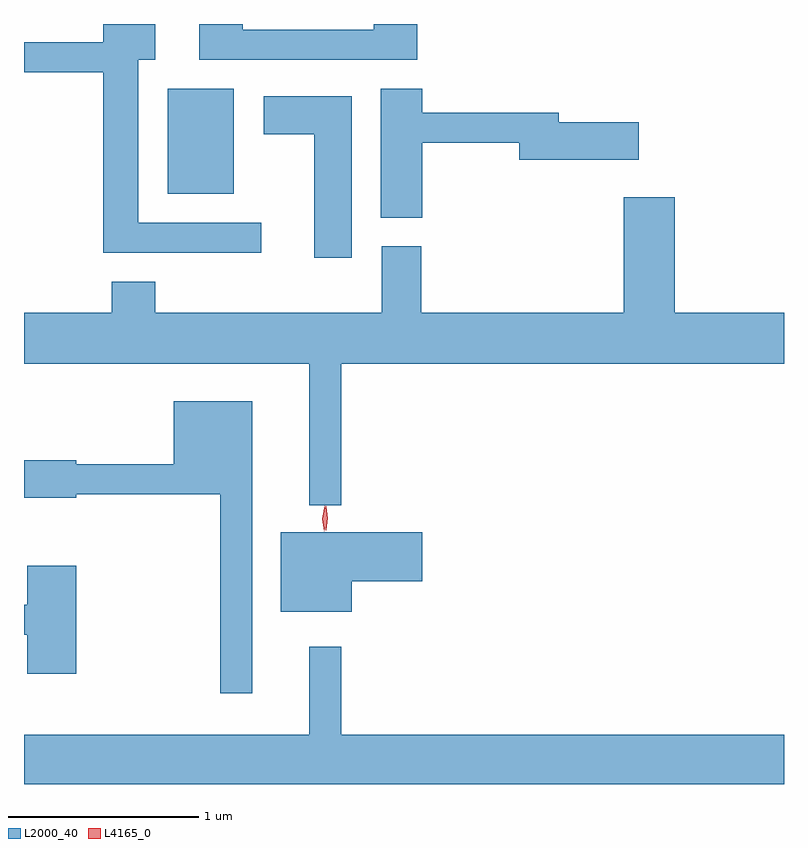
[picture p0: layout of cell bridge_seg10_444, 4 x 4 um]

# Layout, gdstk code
import gdstk
lib = gdstk.Library(unit=1e-6, precision=1e-09)
def R(c, l, rs):  # rectangles x0, y0, x1, y1
    for r in rs: c.add(gdstk.rectangle(r[:2], r[2:], *l))
def P(c, l, *ps):  # polygons
    for p in ps: c.add(gdstk.Polygon(p, *l))
L2000_40 = (2000, 40)
L4165_0 = (4165, 0)

bridge_seg10_444 = lib.new_cell('bridge_seg10_444')
R(bridge_seg10_444, L2000_40, [(1471.416,2119.251,1471.764,2119.804)])
P(bridge_seg10_444, L2000_40, [(1472.729,2120.145),(1472.501,2120.145),(1472.501,2120.114),(1471.809,2120.114),(1471.809,2120.145),(1471.581,2120.145),(1471.581,2119.956),(1472.729,2119.956)],
  [(1471.908,2119.099),(1471.259,2119.099),(1471.259,2119.956),(1471.349,2119.956),(1471.349,2120.145),(1471.076,2120.145),(1471.076,2120.049),(1470.659,2120.049),(1470.659,2119.891),(1471.076,2119.891),(1471.076,2118.941),(1471.908,2118.941)],
  [(1472.754,2119.521),(1473.266,2119.521),(1473.266,2119.431),(1473.894,2119.431),(1473.894,2119.629),(1473.474,2119.629),(1473.474,2119.679),(1472.754,2119.679),(1472.754,2119.804),(1472.536,2119.804),(1472.536,2119.126),(1472.754,2119.126)],
  [(1472.384,2119.764),(1471.921,2119.764),(1471.921,2119.566),(1472.186,2119.566),(1472.186,2118.916),(1472.384,2118.916)],
  [(1472.329,2118.356),(1474.659,2118.356),(1474.659,2118.624),(1474.084,2118.624),(1474.084,2119.234),(1473.816,2119.234),(1473.816,2118.624),(1472.749,2118.624),(1472.749,2118.974),(1472.541,2118.974),(1472.541,2118.624),(1471.349,2118.624),(1471.349,2118.789),(1471.121,2118.789),(1471.121,2118.624),(1470.659,2118.624),(1470.659,2118.356),(1472.161,2118.356),(1472.161,2117.613),(1472.329,2117.613)],
  [(1471.859,2118.159),(1471.446,2118.159),(1471.446,2117.829),(1470.934,2117.829),(1470.934,2117.849),(1470.659,2117.849),(1470.659,2117.651),(1470.934,2117.651),(1470.934,2117.671),(1471.691,2117.671),(1471.691,2116.623),(1471.859,2116.623)],
  [(1472.384,2117.211),(1472.754,2117.211),(1472.754,2117.469),(1472.011,2117.469),(1472.011,2117.051),(1472.384,2117.051)],
  [(1470.934,2117.294),(1470.676,2117.294),(1470.676,2117.089),(1470.659,2117.089),(1470.659,2116.931),(1470.676,2116.931),(1470.676,2116.726),(1470.934,2116.726)],
  [(1474.659,2116.404),(1472.329,2116.404),(1472.329,2116.868),(1472.161,2116.868),(1472.161,2116.404),(1470.659,2116.404),(1470.659,2116.145),(1474.659,2116.145)])
P(bridge_seg10_444, L4165_0, [(1472.248,2117.48),(1472.248,2117.48),(1472.238,2117.544),(1472.248,2117.606),(1472.248,2117.607),(1472.249,2117.606),(1472.258,2117.544),(1472.249,2117.48)],
  [(1472.239,2117.474),(1472.23,2117.542),(1472.241,2117.61),(1472.241,2117.61),(1472.242,2117.61),(1472.25,2117.542),(1472.24,2117.474),(1472.24,2117.474)])

lib.write_gds('bridge_seg10_444.gds')
